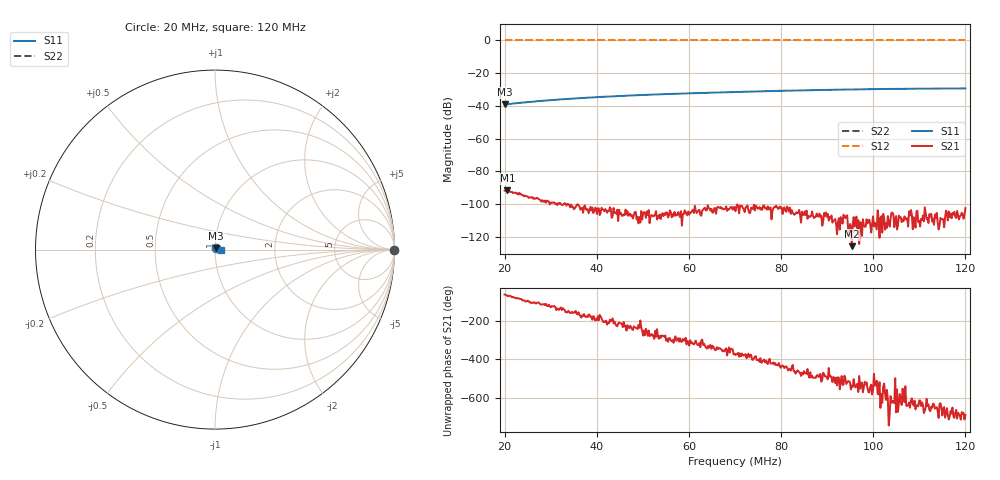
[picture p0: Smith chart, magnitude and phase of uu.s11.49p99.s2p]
! Anritsu VNA Master:  Model: MS2036C/10/77
! SN:  1601066
! /card0/usr/uu.s11.49p99.s2p
! Existing Calibration Information:
! TYPE:  Current Settings,  Active Cal Settings
! TIME:  05/23/2018 11:44:49 AM,  05/23/2018 11:36:58 AM
! INTERNAL TEMP:  48.5 C,  48.8 C
! # POINTS:  500,  500
! START FREQ:  20.000 MHz,  20.000 MHz
! STOP FREQ:  120.000 MHz,  120.000 MHz
! SOURCE POWER:  High,  High
! IFBW:  50 Hz,  50 Hz
! AVG FACTOR:  1 ,  1
! REF PLANE 1:  0 mm,  0 mm
! REF PLANE 2:  0 mm,  0 mm
! CAL TYPE:  Full S11,  Full S11
! CAL METHOD:  SOLT,  SOLT
! CAL LINE TYPE:  Coax,  Coax
! DUT PORT 1:  K-Conn(M),  K-Conn(M)
! DUT PORT 2:  K-Conn(M),  K-Conn(M)
! CAL STATUS:  OK: Accuracy High,  --
# GHZ S DB R 50.0
! FREQ.GHZ  S11DB  S11A  S21DB  S21A  S12DB  S12A  S22DB  S22A
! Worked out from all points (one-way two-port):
!   500 points, 20 MHz to 120 MHz, reference 50 ohm
!   highest |S21| = -91.60 dB at 20.6 MHz (marker M1); lowest = -125.8 dB at 95.35 MHz (marker M2)
!   lowest |S11| = -39.1 dB at 20 MHz (marker M3), VSWR 1.02, Z = 50.7 + j0.874 ohm
!   |S11| at or under -10 dB: start of sweep to end of sweep
!   |S22| runs from 0.0 to 0.0 dB; largest |S21 - S12| = 1
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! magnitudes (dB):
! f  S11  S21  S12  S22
! 20 MHz  -39.1  -91.8  0.0  0.0
! 20.6 MHz  -39.0  -91.6  0.0  0.0
! 22 MHz  -38.5  -93.2  0.0  0.0
! 24.01 MHz  -38.0  -94.6  0.0  0.0
! 25.01 MHz  -37.7  -95.5  0.0  0.0
! 26.01 MHz  -37.4  -95.8  0.0  0.0
! 28.22 MHz  -36.9  -97.7  0.0  0.0
! 32.42 MHz  -36.0  -100.7  0.0  0.0
! 36.83 MHz  -35.2  -102.3  0.0  0.0
! 40.44 MHz  -34.6  -102.7  0.0  0.0
! 44.85 MHz  -33.9  -103.5  0.0  0.0
! 47.86 MHz  -33.6  -108.8  0.0  0.0
! 53.47 MHz  -33.0  -108.5  0.0  0.0
! 62.28 MHz  -32.2  -103.6  0.0  0.0
! 70.1 MHz  -31.5  -104.4  0.0  0.0
! 73.91 MHz  -31.3  -103.1  0.0  0.0
! 79.72 MHz  -30.8  -101.5  0.0  0.0
! 86.73 MHz  -30.4  -104.6  0.0  0.0
! 95.35 MHz  -30.0  -125.8  0.0  0.0
! 103.4 MHz  -29.6  -111.2  0.0  0.0
! 114.2 MHz  -29.4  -115.6  0.0  0.0
! 120 MHz  -29.3  -102.5  0.0  0.0
